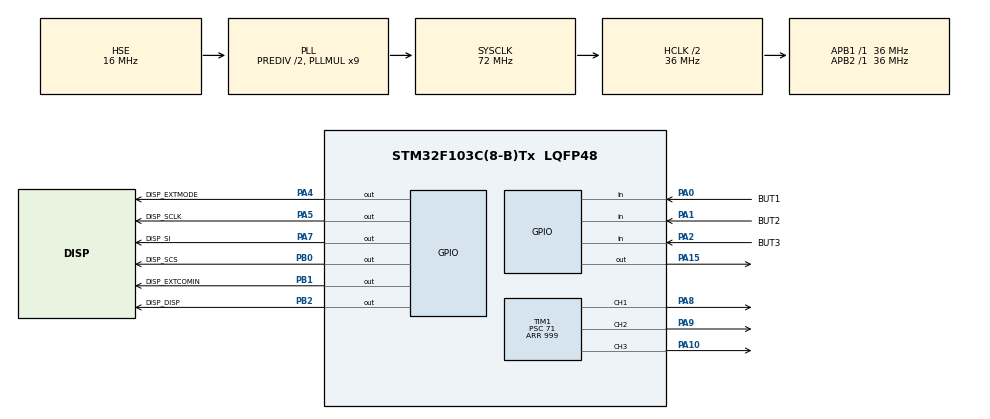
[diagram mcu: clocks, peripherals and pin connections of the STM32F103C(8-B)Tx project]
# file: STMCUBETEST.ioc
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Mcu.Family=STM32F1
Mcu.Name=STM32F103C(8-B)Tx
Mcu.Package=LQFP48
NVIC.PriorityGroup=NVIC_PRIORITYGROUP_4
PA0-WKUP.GPIO_Label=BUT1
PA0-WKUP.Signal=GPIO_Input
PA1.GPIO_Label=BUT2
PA1.Signal=GPIO_Input
PA10.Signal=S_TIM1_CH3
PA13.Mode=Serial_Wire
PA13.Signal=SYS_JTMS-SWDIO
PA14.Mode=Serial_Wire
PA14.Signal=SYS_JTCK-SWCLK
PA15.PinState=GPIO_PIN_SET
PA15.Signal=GPIO_Output
PA2.GPIO_Label=BUT3
PA2.Signal=GPIO_Input
PA4.GPIO_Label=DISP_EXTMODE
PA4.GPIO_Speed=GPIO_SPEED_FREQ_HIGH
PA4.Signal=GPIO_Output
PA5.GPIO_Label=DISP_SCLK
PA5.GPIO_Speed=GPIO_SPEED_FREQ_HIGH
PA5.Signal=GPIO_Output
PA7.GPIO_Label=DISP_SI
PA7.GPIO_Speed=GPIO_SPEED_FREQ_HIGH
PA7.Signal=GPIO_Output
PA8.Signal=S_TIM1_CH1
PA9.Signal=S_TIM1_CH2
PB0.GPIO_Label=DISP_SCS
PB0.GPIO_Speed=GPIO_SPEED_FREQ_HIGH
PB0.Signal=GPIO_Output
PB1.GPIO_Label=DISP_EXTCOMIN
PB1.GPIO_Speed=GPIO_SPEED_FREQ_HIGH
PB1.Signal=GPIO_Output
PB2.GPIO_Label=DISP_DISP
PB2.GPIO_Speed=GPIO_SPEED_FREQ_HIGH
PB2.Signal=GPIO_Output
PC14-OSC32_IN.Mode=LSE-External-Oscillator
PC14-OSC32_IN.Signal=RCC_OSC32_IN
PC15-OSC32_OUT.Mode=LSE-External-Oscillator
PC15-OSC32_OUT.Signal=RCC_OSC32_OUT
PD0-OSC_IN.Mode=HSE-External-Oscillator
PD0-OSC_IN.Signal=RCC_OSC_IN
PD1-OSC_OUT.Mode=HSE-External-Oscillator
PD1-OSC_OUT.Signal=RCC_OSC_OUT
ProjectManager.HeapSize=0x200
ProjectManager.StackSize=0x400
ProjectManager.TargetToolchain=STM32CubeIDE
RCC.AHBCLKDivider=RCC_SYSCLK_DIV2
RCC.AHBFreq_Value=36000000
RCC.APB1Freq_Value=36000000
RCC.APB1TimFreq_Value=36000000
RCC.APB2Freq_Value=36000000
RCC.APB2TimFreq_Value=36000000
RCC.HCLKFreq_Value=36000000
RCC.HSEDivPLL=RCC_HSE_PREDIV_DIV2
RCC.HSE_VALUE=16000000
RCC.PLLMUL=RCC_PLL_MUL9
RCC.PLLSourceVirtual=RCC_PLLSOURCE_HSE
RCC.SYSCLKFreq_VALUE=72000000
RCC.SYSCLKSource=RCC_SYSCLKSOURCE_PLLCLK
RCC.USBFreq_Value=72000000
SH.S_TIM1_CH1.0=TIM1_CH1,PWM Generation1 CH1
SH.S_TIM1_CH2.0=TIM1_CH2,PWM Generation2 CH2
SH.S_TIM1_CH3.0=TIM1_CH3,PWM Generation3 CH3
TIM1.AutoReloadPreload=TIM_AUTORELOAD_PRELOAD_ENABLE
TIM1.Channel-PWM\ Generation1\ CH1=TIM_CHANNEL_1
TIM1.Channel-PWM\ Generation2\ CH2=TIM_CHANNEL_2
TIM1.Channel-PWM\ Generation3\ CH3=TIM_CHANNEL_3
TIM1.OCPolarity_1=TIM_OCPOLARITY_LOW
TIM1.OCPolarity_2=TIM_OCPOLARITY_LOW
TIM1.OCPolarity_3=TIM_OCPOLARITY_LOW
TIM1.Period=999
TIM1.Prescaler=71
TIM1.Pulse-PWM\ Generation1\ CH1=50
TIM1.Pulse-PWM\ Generation2\ CH2=50
TIM1.Pulse-PWM\ Generation3\ CH3=50
VP_TIM1_VS_ClockSourceINT.Mode=Internal
board=custom

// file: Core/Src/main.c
/* USER CODE BEGIN Header */
/**
  ******************************************************************************
  * @file           : main.c
  * @brief          : Main program body
  ******************************************************************************
  * @attention
  *
  * Copyright (c) 2026 STMicroelectronics.
  * All rights reserved.
  *
  * This software is licensed under terms that can be found in the LICENSE file
  * in the root directory of this software component.
  * If no LICENSE file comes with this software, it is provided AS-IS.
  *
  ******************************************************************************
  */
/* USER CODE END Header */
#include "main.h"

/* USER CODE BEGIN Includes */
#include <stdbool.h>
#include <string.h>
#include <icon_menu_food.h>
#include <icon_menu_game.h>
/* USER CODE END Includes */

/* USER CODE BEGIN PD */
#define LCD_WIDTH       128
#define LCD_HEIGHT      128
#define LCD_ROW_BYTES   (LCD_WIDTH / 8) // 16 bytes per row

// Internal RAM buffer replacing image_data
static uint8_t lcd_buffer[LCD_HEIGHT][LCD_ROW_BYTES];

const uint8_t font5x7[][5] = {
    {0x00, 0x00, 0x00, 0x00, 0x00}, // 32: Space
    {0x00, 0x00, 0x5F, 0x00, 0x00}, // 33: !
    {0x00, 0x07, 0x00, 0x07, 0x00}, // 34: "
    {0x14, 0x7F, 0x14, 0x7F, 0x14}, // 35: #
    {0x24, 0x2A, 0x7F, 0x2A, 0x12}, // 36: $
    {0x23, 0x13, 0x08, 0x64, 0x62}, // 37: %
    {0x36, 0x49, 0x55, 0x22, 0x50}, // 38: &
    {0x00, 0x05, 0x03, 0x00, 0x00}, // 39: '
    {0x00, 0x1C, 0x22, 0x41, 0x00}, // 40: (
    {0x00, 0x41, 0x22, 0x1C, 0x00}, // 41: )
    {0x14, 0x08, 0x3E, 0x08, 0x14}, // 42: *
    {0x08, 0x08, 0x3E, 0x08, 0x08}, // 43: +
    {0x00, 0x50, 0x30, 0x00, 0x00}, // 44: ,
    {0x08, 0x08, 0x08, 0x08, 0x08}, // 45: -
    {0x00, 0x60, 0x60, 0x00, 0x00}, // 46: .
    {0x20, 0x10, 0x08, 0x04, 0x02}, // 47: /
    {0x3E, 0x51, 0x49, 0x45, 0x3E}, // 48: 0
    {0x00, 0x42, 0x7F, 0x40, 0x00}, // 49: 1
    {0x42, 0x61, 0x51, 0x49, 0x46}, // 50: 2
    {0x21, 0x41, 0x45, 0x4B, 0x31}, // 51: 3
    {0x18, 0x14, 0x12, 0x7F, 0x10}, // 52: 4
    {0x27, 0x45, 0x45, 0x45, 0x39}, // 53: 5
    {0x3C, 0x4a, 0x49, 0x49, 0x30}, // 54: 6
    {0x01, 0x71, 0x09, 0x05, 0x03}, // 55: 7
    {0x36, 0x49, 0x49, 0x49, 0x36}, // 56: 8
    {0x06, 0x49, 0x49, 0x29, 0x1E}, // 57: 9
    {0x00, 0x36, 0x36, 0x00, 0x00}, // 58: :
    {0x00, 0x56, 0x36, 0x00, 0x00}, // 59: ;
    {0x08, 0x14, 0x22, 0x41, 0x00}, // 60: <
    {0x14, 0x14, 0x14, 0x14, 0x14}, // 61: =
    {0x00, 0x41, 0x22, 0x14, 0x08}, // 62: >
    {0x02, 0x01, 0x51, 0x09, 0x06}, // 63: ?
    {0x32, 0x49, 0x59, 0x51, 0x3e}, // 64: @
    {0x7E, 0x11, 0x11, 0x11, 0x7E}, // 65: A
    {0x7F, 0x49, 0x49, 0x49, 0x36}, // 66: B
    {0x3E, 0x41, 0x41, 0x41, 0x22}, // 67: C
    {0x7F, 0x41, 0x41, 0x22, 0x1C}, // 68: D
    {0x7F, 0x49, 0x49, 0x49, 0x41}, // 69: E
    {0x7F, 0x09, 0x09, 0x09, 0x01}, // 70: F
    {0x3E, 0x41, 0x49, 0x49, 0x7A}, // 71: G
    {0x7F, 0x08, 0x08, 0x08, 0x7F}, // 72: H
    {0x00, 0x41, 0x7F, 0x41, 0x00}, // 73: I
    {0x20, 0x40, 0x41, 0x3F, 0x01}, // 74: J
    {0x7F, 0x08, 0x14, 0x22, 0x41}, // 75: K
    {0x7F, 0x40, 0x40, 0x40, 0x40}, // 76: L
    {0x7F, 0x02, 0x0C, 0x02, 0x7F}, // 77: M
    {0x7F, 0x04, 0x08, 0x10, 0x7F}, // 78: N
    {0x3E, 0x41, 0x41, 0x41, 0x3E}, // 79: O
    {0x7F, 0x09, 0x09, 0x09, 0x06}, // 80: P
    {0x3E, 0x41, 0x51, 0x21, 0x5E}, // 81: Q
    {0x7F, 0x09, 0x09, 0x19, 0x66}, // 82: R
    {0x26, 0x49, 0x49, 0x49, 0x32}, // 83: S
    {0x01, 0x01, 0x7F, 0x01, 0x01}, // 84: T
    {0x3F, 0x40, 0x40, 0x40, 0x3F}, // 85: U
    {0x1F, 0x20, 0x40, 0x20, 0x1F}, // 86: V
    {0x3F, 0x40, 0x38, 0x40, 0x3F}, // 87: W
    {0x63, 0x14, 0x08, 0x14, 0x63}, // 88: X
    {0x07, 0x08, 0x70, 0x08, 0x07}, // 89: Y
    {0x61, 0x51, 0x49, 0x45, 0x43}, // 90: Z
    {0x00, 0x7F, 0x41, 0x41, 0x00}, // 91: [
    {0x02, 0x04, 0x08, 0x10, 0x20}, // 92: \ (escaped)
    {0x00, 0x41, 0x41, 0x7F, 0x00}, // 93: ]
    {0x04, 0x02, 0x01, 0x02, 0x04}, // 94: ^
    {0x40, 0x40, 0x40, 0x40, 0x40}, // 95: _
    {0x00, 0x01, 0x02, 0x04, 0x00}, // 96: `
    {0x20, 0x54, 0x54, 0x54, 0x78}, // 97: a
    {0x7F, 0x48, 0x44, 0x44, 0x38}, // 98: b
    {0x38, 0x44, 0x44, 0x44, 0x20}, // 99: c
    {0x38, 0x44, 0x44, 0x48, 0x7F}, // 100: d
    {0x38, 0x54, 0x54, 0x54, 0x18}, // 101: e
    {0x08, 0x7E, 0x09, 0x01, 0x02}, // 102: f
    {0x0C, 0x52, 0x52, 0x52, 0x3E}, // 103: g
    {0x7F, 0x08, 0x04, 0x04, 0x78}, // 104: h
    {0x00, 0x44, 0x7D, 0x40, 0x00}, // 105: i
    {0x20, 0x40, 0x44, 0x3D, 0x00}, // 106: j
    {0x7F, 0x10, 0x28, 0x44, 0x00}, // 107: k
    {0x00, 0x41, 0x7F, 0x40, 0x00}, // 108: l
    {0x7C, 0x04, 0x78, 0x04, 0x78}, // 109: m
    {0x7C, 0x08, 0x04, 0x04, 0x78}, // 110: n
    {0x38, 0x44, 0x44, 0x44, 0x38}, // 111: o
    {0x7C, 0x14, 0x14, 0x14, 0x08}, // 112: p
    {0x08, 0x14, 0x14, 0x18, 0x7C}, // 113: q
    {0x7C, 0x08, 0x04, 0x04, 0x08}, // 114: r
    {0x48, 0x54, 0x54, 0x54, 0x20}, // 115: s
    {0x04, 0x3F, 0x44, 0x40, 0x20}, // 116: t
    {0x3C, 0x40, 0x40, 0x20, 0x7C}, // 117: u
    {0x1C, 0x20, 0x40, 0x20, 0x1C}, // 118: v
    {0x3C, 0x40, 0x30, 0x40, 0x3C}, // 119: w
    {0x44, 0x28, 0x10, 0x28, 0x44}, // 120: x
    {0x0C, 0x50, 0x50, 0x50, 0x3C}, // 121: y
    {0x44, 0x64, 0x54, 0x4C, 0x44}, // 122: z
    {0x00, 0x08, 0x36, 0x41, 0x00}, // 123: {
    {0x00, 0x00, 0x7F, 0x00, 0x00}, // 124: |
    {0x41, 0x36, 0x08, 0x00, 0x00}, // 125: }
    {0x02, 0x01, 0x02, 0x04, 0x02}  // 126: ~
};

/* USER CODE END PD */

TIM_HandleTypeDef htim1;

void SystemClock_Config(void);
static void MX_GPIO_Init(void);
static void MX_TIM1_Init(void);
/* USER CODE BEGIN PFP */
void enter_bootloader(void);
/* USER CODE END PFP */

/* USER CODE BEGIN 0 */
#define SCK_H()  (GPIOA->BSRR = GPIO_PIN_5)
#define SCK_L()  (GPIOA->BRR  = GPIO_PIN_5)
#define SI_H()   (GPIOA->BSRR = GPIO_PIN_7)
#define SI_L()   (GPIOA->BRR  = GPIO_PIN_7)
#define CS_H()   (GPIOB->BSRR = GPIO_PIN_0)
#define CS_L()   (GPIOB->BRR  = GPIO_PIN_0)

static uint8_t vcom = 0;

static void dly_cycles(uint32_t c) {
    uint32_t s = DWT->CYCCNT;
    while ((DWT->CYCCNT - s) < c) { }
}

static void lcd_byte(uint8_t b) {            /* LSB first */
    uint32_t half = SystemCoreClock / 200000U;   /* ~0.5 us */
    for (int i = 0; i < 8; i++) {
        if (b & 1) SI_H(); else SI_L();
        b >>= 1;
        dly_cycles(half);
        SCK_H();
        dly_cycles(half);
        SCK_L();
    }
}

static void lcd_clear_cmd(void) {            /* M2 = clear all memory */
    vcom ^= 0x02;
    CS_H();
    dly_cycles(SystemCoreClock / 100000U);   /* ~10 us */
    lcd_byte(0x04 | vcom);
    lcd_byte(0x00);
    dly_cycles(SystemCoreClock / 100000U);
    CS_L();
}

static void lcd_send_frame(void) {           /* Sends the entire buffer to the LCD */
    vcom ^= 0x02;
    CS_H();
    dly_cycles(SystemCoreClock / 100000U);   /* ~10 us */
    lcd_byte(0x01 | vcom);                   /* M0 = write lines command */

    for (int y = 1; y <= 128; y++) {
        lcd_byte((uint8_t)y);                /* line address, 1-based (1 to 128) */
        for (int x = 0; x < LCD_ROW_BYTES; x++) {
            lcd_byte(lcd_buffer[y - 1][x]);  /* Send row bytes from framebuffer */
        }
        lcd_byte(0x00);                      /* line trailer */
    }

    lcd_byte(0x00);                          /* final trailer */
    dly_cycles(SystemCoreClock / 100000U);
    CS_L();
}

void lcd_set_pixel(uint8_t x, uint8_t y, uint8_t color) {
    if (x >= LCD_WIDTH || y >= LCD_HEIGHT) {
        return; // Out of bounds safety check
    }

    uint16_t byte_idx = x / 8;
    uint8_t bit_idx = x % 8; // Matches your LSB-first transmission logic

    if (color) {
        lcd_buffer[y][byte_idx] |= (1 << bit_idx);   // Set pixel to white
    } else {
        lcd_buffer[y][byte_idx] &= ~(1 << bit_idx);  // Set pixel to black
    }
}

void lcd_draw_line(int16_t x0, int16_t y0, int16_t x1, int16_t y1, uint8_t color) {
    int16_t dx = (x1 > x0) ? (x1 - x0) : (x0 - x1);
    int16_t sx = (x0 < x1) ? 1 : -1;
    int16_t dy = (y1 > y0) ? (y1 - y0) : (y0 - y1);
    int16_t sy = (y0 < y1) ? 1 : -1;
    int16_t err = dx - dy;
    int16_t e2;

    while (1) {
        lcd_set_pixel(x0, y0, color);

        if (x0 == x1 && y0 == y1) {
            break;
        }

        e2 = 2 * err;
        if (e2 > -dy) {
            err -= dy;
            x0 += sx;
        }
        if (e2 < dx) {
            err += dx;
            y0 += sy;
        }
    }
}

void lcd_clear_screen(void) {
    for (int y = 0; y < LCD_HEIGHT; y++) {
        for (int x = 0; x < LCD_ROW_BYTES; x++) {
            lcd_buffer[y][x] = 0xFF; // 0xFF = all white pixels
        }
    }
}

void lcd_draw_rect(int16_t x, int16_t y, int16_t w, int16_t h, uint8_t color) {
    if (w <= 0 || h <= 0) return;

    lcd_draw_line(x, y, x + w - 1, y, color);         // Top edge
    lcd_draw_line(x, y + h - 1, x + w - 1, y + h - 1, color); // Bottom edge
    lcd_draw_line(x, y, x, y + h - 1, color);         // Left edge
    lcd_draw_line(x + w - 1, y, x + w - 1, y + h - 1, color); // Right edge
}

/**
 * @brief Draws a solid filled rectangle.
 * @param x Top-left X coordinate
 * @param y Top-left Y coordinate
 * @param w Width of the rectangle
 * @param h Height of the rectangle
 * @param color 1 = Black dot, 0 = White background
 */
void lcd_fill_rect(int16_t x, int16_t y, int16_t w, int16_t h, uint8_t color) {
    if (w <= 0 || h <= 0) return;

    for (int16_t i = 0; i < h; i++) {
        lcd_draw_line(x, y + i, x + w - 1, y + i, color);
    }
}

void lcd_draw_ellipse(int16_t x0, int16_t y0, int16_t rx, int16_t ry, uint8_t color) {
    if (rx <= 0 || ry <= 0) return;

    int32_t a2 = (int32_t)rx * rx;
    int32_t b2 = (int32_t)ry * ry;
    int32_t two_a2 = 2 * a2;
    int32_t two_b2 = 2 * b2;
    int32_t x = rx;
    int32_t y = 0;
    int32_t sigma = 2 * b2 + a2 * (1 - 2 * rx);

    // Region 1
    while (b2 * x >= a2 * y) {
        lcd_set_pixel(x0 + x, y0 + y, color);
        lcd_set_pixel(x0 - x, y0 + y, color);
        lcd_set_pixel(x0 + x, y0 - y, color);
        lcd_set_pixel(x0 - x, y0 - y, color);

        if (sigma >= 0) {
            sigma -= two_a2 * x;
            x--;
        }
        sigma += two_b2 * y + b2;
        y++;
    }

    // Region 2
    x = 0;
    y = ry;
    sigma = 2 * a2 + b2 * (1 - 2 * ry);

    while (a2 * y >= b2 * x) {
        lcd_set_pixel(x0 + x, y0 + y, color);
        lcd_set_pixel(x0 - x, y0 + y, color);
        lcd_set_pixel(x0 + x, y0 - y, color);
        lcd_set_pixel(x0 - x, y0 - y, color);

        if (sigma >= 0) {
            sigma -= two_b2 * y;
            y--;
        }
        sigma += two_a2 * x + a2;
        x++;
    }
}

void lcd_draw_char(int16_t x, int16_t y, char c, uint8_t color, uint8_t size) {
    if (c < 32 || c > 126) {
        c = '?'; // Fallback for unsupported characters
    }

    uint8_t char_idx = c - 32;

    for (uint8_t col = 0; col < 5; col++) {
        uint8_t line = font5x7[char_idx][col];
        for (uint8_t row = 0; row < 8; row++) {
            if (line & (1 << row)) {
                if (size == 1) {
                    lcd_set_pixel(x + col, y + row, color);
                } else {
                    lcd_fill_rect(x + (col * size), y + (row * size), size, size, color);
                }
            }
        }
    }
}
void lcd_print_string(int16_t x, int16_t y, const char *str, uint8_t color, uint8_t size) {
    int16_t cursor_x = x;
    int16_t cursor_y = y;

    while (*str) {
        if (*str == '\n') {
            cursor_x = x;
            cursor_y += (8 * size) + 2; // Move down by character height + padding
        } else {
            // Wrap to next line if it exceeds screen bounds (128px wide)
            if (cursor_x + (5 * size) >= 128) {
                cursor_x = x;
                cursor_y += (8 * size) + 2;
            }

            lcd_draw_char(cursor_x, cursor_y, *str, color, size);
            cursor_x += (6 * size); // 5 columns + 1 pixel letter spacing
        }
        str++;
    }
}
static void lcd_draw_icon(const uint8_t *icon, int w, int h, int x0, int y0) {
    int row_bytes = (w + 7) / 8;
    for (int y = 0; y < h; y++) {
        for (int x = 0; x < w; x++) {
            int px = x0 + x;
            int py = y0 + y;
            if (px < 0 || px >= 128 || py < 0 || py >= 128) continue;

            int white = (icon[y * row_bytes + (x >> 3)] >> (x & 7)) & 1;
            if (white) lcd_buffer[py][px >> 3] |=  (uint8_t)(1u << (px & 7));
            else       lcd_buffer[py][px >> 3] &= (uint8_t)~(1u << (px & 7));
        }
    }
}
/* USER CODE END 0 */

int main(void)
{

  /* USER CODE BEGIN 1 */
	SCB->VTOR = FLASH_BASE | 0x2000;
  /* USER CODE END 1 */

  /* MCU Configuration--------------------------------------------------------*/

  /* Reset of all peripherals, Initializes the Flash interface and the Systick. */
  HAL_Init();

  /* Configure the system clock */
  SystemClock_Config();

  /* Initialize all configured peripherals */
  MX_GPIO_Init();
  MX_TIM1_Init();
  /* USER CODE BEGIN 2 */
  CoreDebug->DEMCR |= CoreDebug_DEMCR_TRCENA_Msk;   /* enable cycle counter */
  DWT->CYCCNT = 0;
  DWT->CTRL |= DWT_CTRL_CYCCNTENA_Msk;

  HAL_GPIO_WritePin(GPIOB, GPIO_PIN_2, GPIO_PIN_RESET);  /* DISP low */
  HAL_GPIO_WritePin(GPIOA, GPIO_PIN_4, GPIO_PIN_RESET);  /* EXTMODE low: VCOM via command bit */
  HAL_GPIO_WritePin(GPIOB, GPIO_PIN_1, GPIO_PIN_RESET);  /* EXTCOMIN unused */
  HAL_Delay(50);

  lcd_clear_cmd();

  //telo
  memset(lcd_buffer, 0xFF, sizeof(lcd_buffer));   /* all white */
  lcd_draw_ellipse(64, 64, 15, 15, 0x00);

  //oci
  lcd_draw_ellipse(58, 58, 2, 2, 0x00);
  lcd_draw_ellipse(68, 58, 2, 2, 0x00);

  lcd_draw_rect(58, 57, 2, 2, 0x00);
  lcd_draw_rect(68, 57, 2, 2, 0x00);

  //usmev
  lcd_draw_line(58, 68, 68, 68, 0x00);
  lcd_draw_line(58, 68, 68, 68, 0x00);
  lcd_draw_line(54, 64, 58, 68, 0x00);
  lcd_draw_line(68, 68, 72, 64, 0x00);

  //menu
  lcd_draw_rect(106,106,18,18,0x00);
  lcd_draw_icon(icon_menu_food, 16, 16 ,107,107);
  lcd_draw_icon(icon_menu_game, 16,16,54,107);
  lcd_draw_rect(0,100,128,2,0x00);

  lcd_send_frame();
  HAL_GPIO_WritePin(GPIOB, GPIO_PIN_2, GPIO_PIN_SET);    /* DISP high: show memory */

  uint8_t menu_pos[6];
  	  menu_pos[0] = 106;
  	  menu_pos[1] = 53;
  	  uint8_t menu = 0;
bool btn3;

  HAL_TIM_PWM_Start(&htim1, TIM_CHANNEL_1);   /* PA8  red   */
  HAL_TIM_PWM_Start(&htim1, TIM_CHANNEL_2);   /* PA9  green */
  HAL_TIM_PWM_Start(&htim1, TIM_CHANNEL_3);   /* PA10 blue  */

  __HAL_TIM_SET_COMPARE(&htim1, TIM_CHANNEL_1, 80);   /* 5% */
  __HAL_TIM_SET_COMPARE(&htim1, TIM_CHANNEL_2, 80);
  __HAL_TIM_SET_COMPARE(&htim1, TIM_CHANNEL_3, 80);

  btn3 = HAL_GPIO_ReadPin(GPIOA, GPIO_PIN_2) == GPIO_PIN_RESET;
  /* USER CODE END 2 */

  /* Infinite loop */
  while (1)
  {

    /* USER CODE BEGIN 3 */

	  btn3 = HAL_GPIO_ReadPin(GPIOA, GPIO_PIN_2) == GPIO_PIN_RESET;
	  if (btn3){

		  lcd_draw_rect(menu_pos[menu],106,18,18,0xFF);
		  menu = 1;
		  lcd_draw_rect(menu_pos[menu],106,18,18,0x00);
		  lcd_send_frame();
		  while (HAL_GPIO_ReadPin(GPIOA, GPIO_PIN_2) == GPIO_PIN_RESET){
			  HAL_Delay(1);
		  }

	  }

	  // LED TEST
	  /*
	  HAL_GPIO_TogglePin(LED_RED_GPIO_Port, LED_RED_Pin);
	  HAL_Delay(100);
	  HAL_GPIO_TogglePin(LED_GREEN_GPIO_Port, LED_GREEN_Pin);
	  HAL_Delay(100);
	  HAL_GPIO_TogglePin(LED_BLUE_GPIO_Port, LED_BLUE_Pin);
	  HAL_Delay(100);*/
		  if(btn3) {
			  __HAL_TIM_SET_COMPARE(&htim1, TIM_CHANNEL_1, 70);
			  		  __HAL_TIM_SET_COMPARE(&htim1, TIM_CHANNEL_2, 70);
			  		  __HAL_TIM_SET_COMPARE(&htim1, TIM_CHANNEL_3, 70);

		  }else{
			  __HAL_TIM_SET_COMPARE(&htim1, TIM_CHANNEL_1, 0);
			  	  		  __HAL_TIM_SET_COMPARE(&htim1, TIM_CHANNEL_2, 0);
			  	  		  __HAL_TIM_SET_COMPARE(&htim1, TIM_CHANNEL_3, 0);
		  }
		  HAL_Delay(10);
	  if (HAL_GetTick() > 10000) enter_bootloader();
  }
  /* USER CODE END 3 */
}

void SystemClock_Config(void)
{
  RCC_OscInitTypeDef RCC_OscInitStruct = {0};
  RCC_ClkInitTypeDef RCC_ClkInitStruct = {0};

  /** Initializes the RCC Oscillators according to the specified parameters
  * in the RCC_OscInitTypeDef structure.
  */
  RCC_OscInitStruct.OscillatorType = RCC_OSCILLATORTYPE_HSE;
  RCC_OscInitStruct.HSEState = RCC_HSE_ON;
  RCC_OscInitStruct.HSEPredivValue = RCC_HSE_PREDIV_DIV2;
  RCC_OscInitStruct.HSIState = RCC_HSI_ON;
  RCC_OscInitStruct.PLL.PLLState = RCC_PLL_ON;
  RCC_OscInitStruct.PLL.PLLSource = RCC_PLLSOURCE_HSE;
  RCC_OscInitStruct.PLL.PLLMUL = RCC_PLL_MUL9;
  if (HAL_RCC_OscConfig(&RCC_OscInitStruct) != HAL_OK)
  {
    Error_Handler();
  }

  /** Initializes the CPU, AHB and APB buses clocks
  */
  RCC_ClkInitStruct.ClockType = RCC_CLOCKTYPE_HCLK|RCC_CLOCKTYPE_SYSCLK
                              |RCC_CLOCKTYPE_PCLK1|RCC_CLOCKTYPE_PCLK2;
  RCC_ClkInitStruct.SYSCLKSource = RCC_SYSCLKSOURCE_PLLCLK;
  RCC_ClkInitStruct.AHBCLKDivider = RCC_SYSCLK_DIV2;
  RCC_ClkInitStruct.APB1CLKDivider = RCC_HCLK_DIV1;
  RCC_ClkInitStruct.APB2CLKDivider = RCC_HCLK_DIV1;

  if (HAL_RCC_ClockConfig(&RCC_ClkInitStruct, FLASH_LATENCY_2) != HAL_OK)
  {
    Error_Handler();
  }
}

static void MX_TIM1_Init(void)
{

  TIM_ClockConfigTypeDef sClockSourceConfig = {0};
  TIM_MasterConfigTypeDef sMasterConfig = {0};
  TIM_OC_InitTypeDef sConfigOC = {0};
  TIM_BreakDeadTimeConfigTypeDef sBreakDeadTimeConfig = {0};

  htim1.Instance = TIM1;
  htim1.Init.Prescaler = 71;
  htim1.Init.CounterMode = TIM_COUNTERMODE_UP;
  htim1.Init.Period = 999;
  htim1.Init.ClockDivision = TIM_CLOCKDIVISION_DIV1;
  htim1.Init.RepetitionCounter = 0;
  htim1.Init.AutoReloadPreload = TIM_AUTORELOAD_PRELOAD_ENABLE;
  if (HAL_TIM_Base_Init(&htim1) != HAL_OK)
  {
    Error_Handler();
  }
  sClockSourceConfig.ClockSource = TIM_CLOCKSOURCE_INTERNAL;
  if (HAL_TIM_ConfigClockSource(&htim1, &sClockSourceConfig) != HAL_OK)
  {
    Error_Handler();
  }
  if (HAL_TIM_PWM_Init(&htim1) != HAL_OK)
  {
    Error_Handler();
  }
  sMasterConfig.MasterOutputTrigger = TIM_TRGO_RESET;
  sMasterConfig.MasterSlaveMode = TIM_MASTERSLAVEMODE_DISABLE;
  if (HAL_TIMEx_MasterConfigSynchronization(&htim1, &sMasterConfig) != HAL_OK)
  {
    Error_Handler();
  }
  sConfigOC.OCMode = TIM_OCMODE_PWM1;
  sConfigOC.Pulse = 50;
  sConfigOC.OCPolarity = TIM_OCPOLARITY_LOW;
  sConfigOC.OCNPolarity = TIM_OCNPOLARITY_HIGH;
  sConfigOC.OCFastMode = TIM_OCFAST_DISABLE;
  sConfigOC.OCIdleState = TIM_OCIDLESTATE_RESET;
  sConfigOC.OCNIdleState = TIM_OCNIDLESTATE_RESET;
  if (HAL_TIM_PWM_ConfigChannel(&htim1, &sConfigOC, TIM_CHANNEL_1) != HAL_OK)
  {
    Error_Handler();
  }
  if (HAL_TIM_PWM_ConfigChannel(&htim1, &sConfigOC, TIM_CHANNEL_2) != HAL_OK)
  {
    Error_Handler();
  }
  if (HAL_TIM_PWM_ConfigChannel(&htim1, &sConfigOC, TIM_CHANNEL_3) != HAL_OK)
  {
    Error_Handler();
  }
  sBreakDeadTimeConfig.OffStateRunMode = TIM_OSSR_DISABLE;
  sBreakDeadTimeConfig.OffStateIDLEMode = TIM_OSSI_DISABLE;
  sBreakDeadTimeConfig.LockLevel = TIM_LOCKLEVEL_OFF;
  sBreakDeadTimeConfig.DeadTime = 0;
  sBreakDeadTimeConfig.BreakState = TIM_BREAK_DISABLE;
  sBreakDeadTimeConfig.BreakPolarity = TIM_BREAKPOLARITY_HIGH;
  sBreakDeadTimeConfig.AutomaticOutput = TIM_AUTOMATICOUTPUT_DISABLE;
  if (HAL_TIMEx_ConfigBreakDeadTime(&htim1, &sBreakDeadTimeConfig) != HAL_OK)
  {
    Error_Handler();
  }
  HAL_TIM_MspPostInit(&htim1);

}

static void MX_GPIO_Init(void)
{
  GPIO_InitTypeDef GPIO_InitStruct = {0};

  /* GPIO Ports Clock Enable */
  __HAL_RCC_GPIOC_CLK_ENABLE();
  __HAL_RCC_GPIOD_CLK_ENABLE();
  __HAL_RCC_GPIOA_CLK_ENABLE();
  __HAL_RCC_GPIOB_CLK_ENABLE();

  /*Configure GPIO pin Output Level */
  HAL_GPIO_WritePin(GPIOA, DISP_EXTMODE_Pin|DISP_SCLK_Pin|DISP_SI_Pin, GPIO_PIN_RESET);

  /*Configure GPIO pin Output Level */
  HAL_GPIO_WritePin(GPIOB, DISP_SCS_Pin|DISP_EXTCOMIN_Pin|DISP_DISP_Pin, GPIO_PIN_RESET);

  /*Configure GPIO pin Output Level */
  HAL_GPIO_WritePin(GPIOA, GPIO_PIN_15, GPIO_PIN_SET);

  /*Configure GPIO pins : BUT1_Pin BUT2_Pin BUT3_Pin */
  GPIO_InitStruct.Pin = BUT1_Pin|BUT2_Pin|BUT3_Pin;
  GPIO_InitStruct.Mode = GPIO_MODE_INPUT;
  GPIO_InitStruct.Pull = GPIO_NOPULL;
  HAL_GPIO_Init(GPIOA, &GPIO_InitStruct);

  /*Configure GPIO pins : DISP_EXTMODE_Pin DISP_SCLK_Pin DISP_SI_Pin */
  GPIO_InitStruct.Pin = DISP_EXTMODE_Pin|DISP_SCLK_Pin|DISP_SI_Pin;
  GPIO_InitStruct.Mode = GPIO_MODE_OUTPUT_PP;
  GPIO_InitStruct.Pull = GPIO_NOPULL;
  GPIO_InitStruct.Speed = GPIO_SPEED_FREQ_HIGH;
  HAL_GPIO_Init(GPIOA, &GPIO_InitStruct);

  /*Configure GPIO pins : DISP_SCS_Pin DISP_EXTCOMIN_Pin DISP_DISP_Pin */
  GPIO_InitStruct.Pin = DISP_SCS_Pin|DISP_EXTCOMIN_Pin|DISP_DISP_Pin;
  GPIO_InitStruct.Mode = GPIO_MODE_OUTPUT_PP;
  GPIO_InitStruct.Pull = GPIO_NOPULL;
  GPIO_InitStruct.Speed = GPIO_SPEED_FREQ_HIGH;
  HAL_GPIO_Init(GPIOB, &GPIO_InitStruct);

  /*Configure GPIO pin : PA15 */
  GPIO_InitStruct.Pin = GPIO_PIN_15;
  GPIO_InitStruct.Mode = GPIO_MODE_OUTPUT_PP;
  GPIO_InitStruct.Pull = GPIO_NOPULL;
  GPIO_InitStruct.Speed = GPIO_SPEED_FREQ_LOW;
  HAL_GPIO_Init(GPIOA, &GPIO_InitStruct);

}

/* USER CODE BEGIN 4 */
void enter_bootloader(void) {
    __HAL_RCC_PWR_CLK_ENABLE();
    __HAL_RCC_BKP_CLK_ENABLE();
    HAL_PWR_EnableBkUpAccess();
    BKP->DR1 = 0x4F42;      /* dapboot's magic value */
    NVIC_SystemReset();
}
/* USER CODE END 4 */

void Error_Handler(void)
{
  __disable_irq();
  while (1)
  {
  }
}
